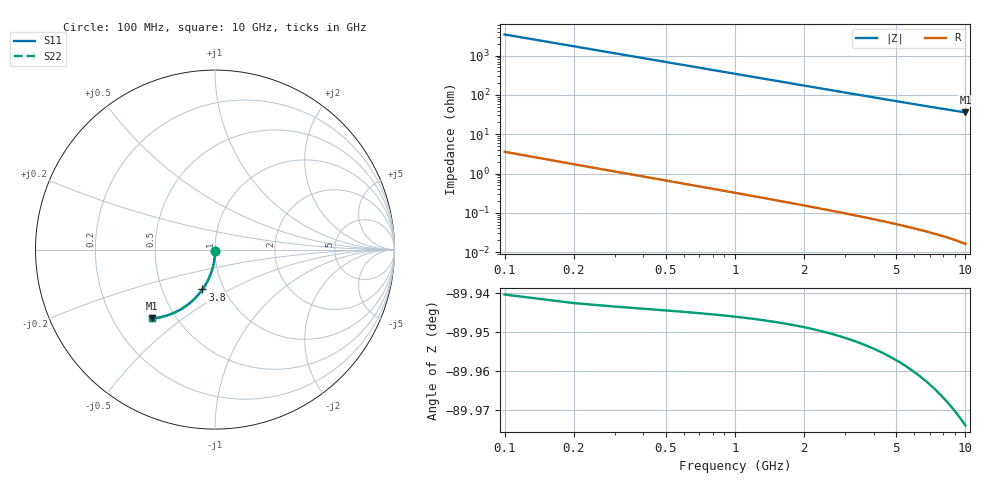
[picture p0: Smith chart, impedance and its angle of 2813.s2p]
# Hz S RI R 50.00
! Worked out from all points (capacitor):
!   100 points, 100 MHz to 10 GHz, reference 50 ohm
!   read as one part in shunt: C = 464 fF near 100 MHz
!   lowest |Z| = 35.8 ohm at 10 GHz (marker M1)
!   S11 on the Smith chart (normalised r, x): 100 MHz: 1.00, -0.01; 3.8 GHz: 0.79, -0.37; 10 GHz: 0.37, -0.39
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1e8  0.000759 -0.00634  0.9991 -0.00823  0.9991 -0.00823  0.000759 -0.00634
2e8  0.000601 -0.0127  0.9989 -0.0164  0.9989 -0.0164  0.000601 -0.0127
3e8  0.000337 -0.019  0.9987 -0.0247  0.9987 -0.0247  0.000337 -0.019
4e8  -3.12e-05 -0.0254  0.9983 -0.0329  0.9983 -0.0329  -3.12e-05 -0.0254
5e8  -0.000504 -0.0317  0.9978 -0.0411  0.9978 -0.0411  -0.000504 -0.0317
6e8  -0.00108 -0.038  0.9972 -0.0493  0.9972 -0.0493  -0.00108 -0.038
7e8  -0.00176 -0.0443  0.9965 -0.0575  0.9965 -0.0575  -0.00176 -0.0443
8e8  -0.00255 -0.0506  0.9957 -0.0656  0.9957 -0.0656  -0.00255 -0.0506
9e8  -0.00343 -0.0568  0.9947 -0.0738  0.9947 -0.0738  -0.00343 -0.0568
1.1e9  -0.00551 -0.0693  0.9926 -0.09  0.9926 -0.09  -0.00551 -0.0693
1.4e9  -0.00938 -0.0878  0.9886 -0.1142  0.9886 -0.1142  -0.00938 -0.0878
1.8e9  -0.0159 -0.1121  0.9818 -0.146  0.9818 -0.146  -0.0159 -0.1121
2.1e9  -0.0218 -0.1299  0.9757 -0.1694  0.9757 -0.1694  -0.0218 -0.1299
2.5e9  -0.031 -0.153  0.9662 -0.2001  0.9662 -0.2001  -0.031 -0.153
2.9e9  -0.0415 -0.1753  0.9552 -0.23  0.9552 -0.23  -0.0415 -0.1753
3.4e9  -0.0565 -0.2019  0.9397 -0.2661  0.9397 -0.2661  -0.0565 -0.2019
3.8e9  -0.0698 -0.2221  0.9258 -0.2938  0.9258 -0.2938  -0.0698 -0.2221
4.4e9  -0.0918 -0.2503  0.9029 -0.3335  0.9029 -0.3335  -0.0918 -0.2503
5.1e9  -0.12 -0.2799  0.8735 -0.3764  0.8735 -0.3764  -0.12 -0.2799
6.7e9  -0.1918 -0.3334  0.7982 -0.4606  0.7982 -0.4606  -0.1918 -0.3334
8.4e9  -0.2733 -0.3687  0.7118 -0.5288  0.7118 -0.5288  -0.2733 -0.3687
1e10  -0.3495 -0.3835  0.63 -0.5751  0.63 -0.5751  -0.3495 -0.3835
